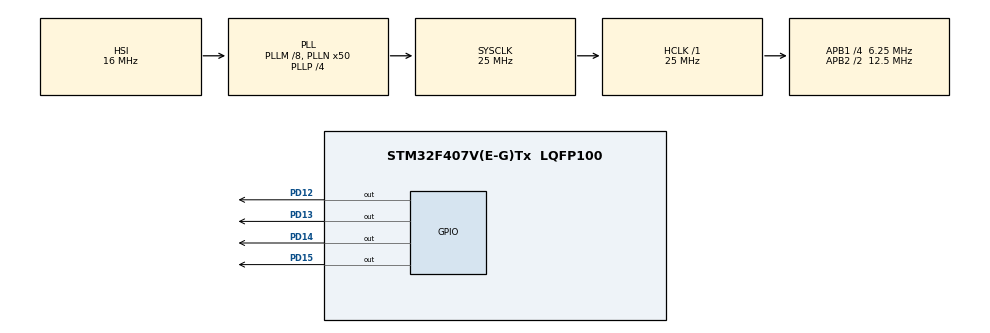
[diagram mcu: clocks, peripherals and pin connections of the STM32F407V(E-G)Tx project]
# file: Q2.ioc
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FREERTOS.INCLUDE_vTaskDelayUntil=1
FREERTOS.Tasks01=defaultTask,-3,128,StartDefaultTask,Default,NULL,Dynamic,NULL,NULL
FREERTOS.configUSE_NEWLIB_REENTRANT=1
Mcu.Family=STM32F4
Mcu.Name=STM32F407V(E-G)Tx
Mcu.Package=LQFP100
NVIC.PriorityGroup=NVIC_PRIORITYGROUP_4
NVIC.TIM1_UP_TIM10_IRQn=true\:15\:0\:false\:false\:true\:false\:false\:true\:true
NVIC.TimeBase=TIM1_UP_TIM10_IRQn
NVIC.TimeBaseIP=TIM1
PD12.Signal=GPIO_Output
PD13.Signal=GPIO_Output
PD14.Signal=GPIO_Output
PD15.Signal=GPIO_Output
ProjectManager.HeapSize=0x200
ProjectManager.StackSize=0x400
ProjectManager.TargetToolchain=STM32CubeIDE
RCC.48MHZClocksFreq_Value=14285714.285714285
RCC.AHBFreq_Value=25000000
RCC.APB1CLKDivider=RCC_HCLK_DIV4
RCC.APB1Freq_Value=6250000
RCC.APB1TimFreq_Value=12500000
RCC.APB2CLKDivider=RCC_HCLK_DIV2
RCC.APB2Freq_Value=12500000
RCC.APB2TimFreq_Value=25000000
RCC.CortexFreq_Value=25000000
RCC.HCLKFreq_Value=25000000
RCC.HSE_VALUE=8000000
RCC.HSI_VALUE=16000000
RCC.LSE_VALUE=32768
RCC.PLLM=8
RCC.PLLN=50
RCC.PLLP=RCC_PLLP_DIV4
RCC.PLLQ=7
RCC.SYSCLKFreq_VALUE=25000000
RCC.SYSCLKSource=RCC_SYSCLKSOURCE_PLLCLK
RCC.VCOOutputFreq_Value=100000000
VP_FREERTOS_VS_CMSIS_V1.Mode=CMSIS_V1
VP_SYS_VS_tim1.Mode=TIM1
board=STM32F407G-DISC1

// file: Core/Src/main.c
/* USER CODE BEGIN Header */
/**
  ******************************************************************************
  * @file           : main.c
  * @brief          : Main program body
  ******************************************************************************
  * @attention
  *
  * Copyright (c) 2025 STMicroelectronics.
  * All rights reserved.
  *
  * This software is licensed under terms that can be found in the LICENSE file
  * in the root directory of this software component.
  * If no LICENSE file comes with this software, it is provided AS-IS.
  *
  ******************************************************************************
  */
/* USER CODE END Header */
#include "main.h"
#include "cmsis_os.h"

/* USER CODE BEGIN Includes */
/*
 * Create a task vLedTask() which will toggle the given LED with given rate.
 * LED number and rate will be given as argument. In main() create four real-time
 * tasks to operate four LEDs.
 */

/* USER CODE END Includes */

/* USER CODE BEGIN PTD */
typedef struct led{
	int led_num;
	int led_rate;
}led_t;

/* USER CODE END PTD */

osThreadId defaultTaskHandle;

void SystemClock_Config(void);
static void MX_GPIO_Init(void);
void StartDefaultTask(void const * argument);

/* USER CODE BEGIN 0 */

void vLedTask(void *pvParam)
{

	led_t *led = (led_t *)pvParam;

	while(1)
	{
		HAL_GPIO_WritePin(GPIOD,led->led_num,GPIO_PIN_SET);
		HAL_Delay(100);
		HAL_GPIO_WritePin(GPIOD, led->led_num,GPIO_PIN_RESET);
		HAL_Delay(100);
		vTaskDelay(200/portTICK_RATE_MS);

	}
	vTaskDelete(NULL);
}

/* USER CODE END 0 */

int main(void)
{

  /* USER CODE BEGIN 1 */
	led_t GREEN_LED;
	GREEN_LED.led_num =GPIO_PIN_12;
	GREEN_LED.led_rate =100;

	led_t ORANGE_LED ;
	ORANGE_LED.led_num=GPIO_PIN_13;
	ORANGE_LED.led_rate= 100;

	led_t RED_LED;
	RED_LED.led_num =GPIO_PIN_14;
	RED_LED.led_rate=100;

	led_t BLUE_LED;
	BLUE_LED.led_num= GPIO_PIN_15;
	BLUE_LED.led_rate=100;

  /* USER CODE END 1 */

  /* MCU Configuration--------------------------------------------------------*/

  /* Reset of all peripherals, Initializes the Flash interface and the Systick. */
  HAL_Init();

  /* Configure the system clock */
  SystemClock_Config();

  /* Initialize all configured peripherals */
  MX_GPIO_Init();

  /* Create the thread(s) */
  /* definition and creation of defaultTask */
  osThreadDef(defaultTask, StartDefaultTask, osPriorityIdle, 0, 128);
  defaultTaskHandle = osThreadCreate(osThread(defaultTask), NULL);

  /* USER CODE BEGIN RTOS_THREADS */
  /* add threads, ... */
  xTaskCreate(vLedTask,"RED_LED", configMINIMAL_STACK_SIZE,&RED_LED, 3,NULL);
  xTaskCreate(vLedTask,"ORANGE_LED", configMINIMAL_STACK_SIZE,&ORANGE_LED, 3,NULL);
  xTaskCreate(vLedTask,"GREEN_LED", configMINIMAL_STACK_SIZE,&GREEN_LED, 3,NULL);
  xTaskCreate(vLedTask,"BLUE_LED", configMINIMAL_STACK_SIZE,&BLUE_LED, 3,NULL);
  //xTaskCreate(pxTaskCode, pcName, usStackDepth, pvParameters, uxPriority, pxCreatedTask)
  /* USER CODE END RTOS_THREADS */

  /* Start scheduler */
  osKernelStart();

  /* We should never get here as control is now taken by the scheduler */

  /* Infinite loop */
  while (1)
  {

  }
}

void SystemClock_Config(void)
{
  RCC_OscInitTypeDef RCC_OscInitStruct = {0};
  RCC_ClkInitTypeDef RCC_ClkInitStruct = {0};

  /** Configure the main internal regulator output voltage
  */
  __HAL_RCC_PWR_CLK_ENABLE();
  __HAL_PWR_VOLTAGESCALING_CONFIG(PWR_REGULATOR_VOLTAGE_SCALE1);

  /** Initializes the RCC Oscillators according to the specified parameters
  * in the RCC_OscInitTypeDef structure.
  */
  RCC_OscInitStruct.OscillatorType = RCC_OSCILLATORTYPE_HSI;
  RCC_OscInitStruct.HSIState = RCC_HSI_ON;
  RCC_OscInitStruct.HSICalibrationValue = RCC_HSICALIBRATION_DEFAULT;
  RCC_OscInitStruct.PLL.PLLState = RCC_PLL_ON;
  RCC_OscInitStruct.PLL.PLLSource = RCC_PLLSOURCE_HSI;
  RCC_OscInitStruct.PLL.PLLM = 8;
  RCC_OscInitStruct.PLL.PLLN = 50;
  RCC_OscInitStruct.PLL.PLLP = RCC_PLLP_DIV4;
  RCC_OscInitStruct.PLL.PLLQ = 7;
  if (HAL_RCC_OscConfig(&RCC_OscInitStruct) != HAL_OK)
  {
    Error_Handler();
  }

  /** Initializes the CPU, AHB and APB buses clocks
  */
  RCC_ClkInitStruct.ClockType = RCC_CLOCKTYPE_HCLK|RCC_CLOCKTYPE_SYSCLK
                              |RCC_CLOCKTYPE_PCLK1|RCC_CLOCKTYPE_PCLK2;
  RCC_ClkInitStruct.SYSCLKSource = RCC_SYSCLKSOURCE_PLLCLK;
  RCC_ClkInitStruct.AHBCLKDivider = RCC_SYSCLK_DIV1;
  RCC_ClkInitStruct.APB1CLKDivider = RCC_HCLK_DIV4;
  RCC_ClkInitStruct.APB2CLKDivider = RCC_HCLK_DIV2;

  if (HAL_RCC_ClockConfig(&RCC_ClkInitStruct, FLASH_LATENCY_0) != HAL_OK)
  {
    Error_Handler();
  }
}

static void MX_GPIO_Init(void)
{
  GPIO_InitTypeDef GPIO_InitStruct = {0};

  /* GPIO Ports Clock Enable */
  __HAL_RCC_GPIOD_CLK_ENABLE();

  /*Configure GPIO pin Output Level */
  HAL_GPIO_WritePin(GPIOD, GPIO_PIN_12|GPIO_PIN_13|GPIO_PIN_14|GPIO_PIN_15, GPIO_PIN_RESET);

  /*Configure GPIO pins : PD12 PD13 PD14 PD15 */
  GPIO_InitStruct.Pin = GPIO_PIN_12|GPIO_PIN_13|GPIO_PIN_14|GPIO_PIN_15;
  GPIO_InitStruct.Mode = GPIO_MODE_OUTPUT_PP;
  GPIO_InitStruct.Pull = GPIO_NOPULL;
  GPIO_InitStruct.Speed = GPIO_SPEED_FREQ_LOW;
  HAL_GPIO_Init(GPIOD, &GPIO_InitStruct);

}

void StartDefaultTask(void const * argument)
{
  for(;;)
  {
    osDelay(1);
  }
}

void HAL_TIM_PeriodElapsedCallback(TIM_HandleTypeDef *htim)
{
  if (htim->Instance == TIM1)
  {
    HAL_IncTick();
  }
}

void Error_Handler(void)
{
  __disable_irq();
  while (1)
  {
  }
}
